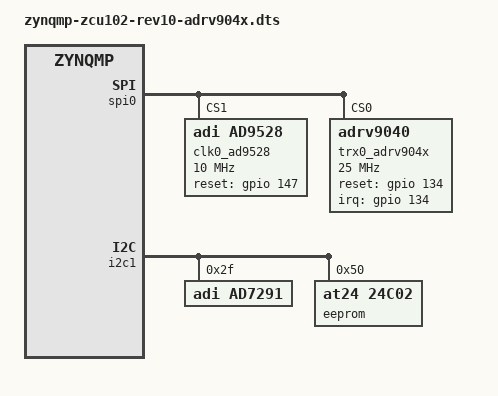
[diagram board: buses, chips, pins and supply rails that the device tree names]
// SPDX-License-Identifier: GPL-2.0
/*
 * Analog Devices ADRV904X
 * https://wiki.analog.com/resources/eval/user-guides/adrv904x
 * https://wiki.analog.com/resources/tools-software/linux-drivers/iio-transceiver/adrv904x
 *
 * hdl_project: <adrv904x/zcu102>
 * board_revision: <>
 *
 * Copyright (C) 2020-2025 Analog Devices Inc.
 */
#include "zynqmp-zcu102-rev1.0.dts"
#include <dt-bindings/interrupt-controller/irq.h>
#include <dt-bindings/iio/adc/adi,adrv904x.h>

#include <dt-bindings/iio/frequency/ad9528.h>
#include <dt-bindings/gpio/gpio.h>
#include <dt-bindings/jesd204/adxcvr.h>

&spi0 {
	status = "okay";

	clk0_ad9528: ad9528-1@1 {
		compatible = "adi,ad9528";
		reg = <1>;

		#address-cells = <1>;
		#size-cells = <0>;

		spi-max-frequency = <10000000>;
		//adi,spi-3wire-enable;

		clock-output-names = "ad9528-1_out0", "ad9528-1_out1", "ad9528-1_out2",
			"ad9528-1_out3", "ad9528-1_out4", "ad9528-1_out5", "ad9528-1_out6",
			"ad9528-1_out7", "ad9528-1_out8", "ad9528-1_out9", "ad9528-1_out10",
			"ad9528-1_out11", "ad9528-1_out12", "ad9528-1_out13";
		#clock-cells = <1>;

		jesd204-device;
		#jesd204-cells = <2>;
		jesd204-sysref-provider;

		adi,vcxo-freq = <122880000>;

		adi,refa-enable;

		adi,refa-diff-rcv-enable;
		adi,refa-r-div = <1>;

		/* PLL1 config */
		adi,pll1-feedback-div = <4>;
		adi,pll1-charge-pump-current-nA = <5000>;

		/* PLL2 config */ /* 983040000 Hz */
		adi,pll2-vco-div-m1 = <4>;
		adi,pll2-n2-div = <4>; /* N / M1 */
		adi,pll2-r1-div = <1>;
		adi,pll2-charge-pump-current-nA = <815000>;
		adi,pll2-freq-doubler-enable;

		/* SYSREF config */
		adi,sysref-src = <SYSREF_SRC_INTERNAL>;
		adi,sysref-pattern-mode = <SYSREF_PATTERN_NSHOT>;
		adi,sysref-k-div = <512>;
		adi,sysref-nshot-mode = <SYSREF_NSHOT_8_PULSES>;
		adi,sysref-request-trigger-mode = <SYSREF_LEVEL_HIGH>;
		adi,jesd204-desired-sysref-frequency-hz = <3840000>;

		adi,rpole2 = <RPOLE2_900_OHM>;
		adi,rzero = <RZERO_1850_OHM>;
		adi,cpole1 = <CPOLE1_16_PF>;

		adi,status-mon-pin0-function-select = <9>; /* PLL1 in holdover */
		adi,status-mon-pin1-function-select = <3>; /* PLL2 locked */

		ad9528_0_c0: channel@0 {
			reg = <0>;
			adi,extended-name = "DEV_SYSREF";
			adi,driver-mode = <DRIVER_MODE_LVDS>;
			adi,divider-phase = <0>;
			adi,channel-divider = <4>;
			adi,signal-source = <SOURCE_SYSREF_VCO>;
			//adi,output-dis;
		};

		ad9528_0_c1: channel@1 {
			reg = <1>;
			adi,extended-name = "DEV_CLK";
			adi,driver-mode = <DRIVER_MODE_LVDS>;
			adi,divider-phase = <0>;
			adi,channel-divider = <4>;
			adi,signal-source = <SOURCE_VCO>;
			//adi,output-dis;
		};

		ad9528_0_c3: channel@3 {
			reg = <3>;
			adi,extended-name = "CORE_CLK";
			adi,driver-mode = <DRIVER_MODE_LVDS>;
			adi,divider-phase = <0>;
			adi,channel-divider = <4>;
			adi,signal-source = <SOURCE_VCO>;
			//adi,output-dis;
		};

		ad9528_0_c11: channel@11 {
			reg = <11>;
			adi,extended-name = "REF_CLK1";
			adi,driver-mode = <DRIVER_MODE_LVDS>;
			adi,divider-phase = <0>;
			adi,channel-divider = <2>;
			adi,signal-source = <SOURCE_SYSREF_VCO>;
			//adi,output-dis;
		};

		ad9528_0_c12: channel@12 {
			reg = <12>;
			adi,extended-name = "FPGA_SYSREF";
			adi,driver-mode = <DRIVER_MODE_LVDS>;
			adi,divider-phase = <0>;
			adi,channel-divider = <4>;
			adi,signal-source = <SOURCE_SYSREF_VCO>;
			//adi,output-dis;
		};

		ad9528_0_c13: channel@13 {
			reg = <13>;
			adi,extended-name = "REF_CLK0";
			adi,driver-mode = <DRIVER_MODE_LVDS>;
			adi,divider-phase = <0>;
			adi,channel-divider = <2>;
			adi,signal-source = <SOURCE_VCO>;
			adi,output-dis;
		};
	};

	trx0_adrv904x: adrv904x-phy@0 {
		compatible = "adrv9040";
		reg = <0>;

		#address-cells = <1>;
		#size-cells = <0>;

		/* SPI Setup */
		spi-max-frequency = <25000000>;

		interrupt-parent = <&gpio>;
		interrupts = <134 IRQ_TYPE_EDGE_RISING>; /* adrv904x_gpint1 - CHECK */

		/* Clocks */
		clocks = <&clk0_ad9528 1>;

		clock-names = "dev_clk";

		clock-output-names = "rx_sampl_clk", "tx_sampl_clk";
		#clock-cells = <1>;

		jesd204-device;
		#jesd204-cells = <2>;
		jesd204-top-device = <0>; /* This is the TOP device */
		jesd204-link-ids = <DEFRAMER0_LINK_TX FRAMER0_LINK_RX>;

		jesd204-inputs =
			<&axi_adrv904x_rx_jesd 0 FRAMER0_LINK_RX>,
			<&axi_adrv904x_core_tx 0 DEFRAMER0_LINK_TX>;

		adi,device-config-name = "DeviceProfileTest.bin";
		adi,arm-firmware-name = "ADRV9040_FW.bin";
		adi,arm-dfe-firmware-name = "ADRV9040_DFE_CALS_FW.bin";
		adi,stream-firmware-name = "stream_image.bin";
		adi,rx-gaintable-names = "ADRV9040_RxGainTable.csv";
		adi,rx-gaintable-channel-masks = <0xFF>;
		//adi,tx-attntable-names = "ADRV904X_TxAttenTable.csv";
		//adi,tx-attntable-channel-masks = <0x0F>;
	};
};

&i2c1 {
	i2c-mux@75 {
		i2c@1 { /* HPC1 */
			#address-cells = <1>;
			#size-cells = <0>;
			reg = <1>;
			/* HPC0_IIC */
			ad7291@2f {
				compatible = "adi,ad7291";
				reg = <0x2f>;
			};

			eeprom@50 {
				compatible = "at24,24c02";
				reg = <0x50>;
			};
		};
	};
};


/ {
	fpga_axi: fpga-axi@0 {
		interrupt-parent = <&gic>;
		compatible = "simple-bus";
		#address-cells = <0x1>;
		#size-cells = <0x1>;
		ranges = <0 0 0 0xffffffff>;

		rx_dma: dma@9c400000 {
			compatible = "adi,axi-dmac-1.00.a";
			reg = <0x9c400000 0x1000>;
			#dma-cells = <1>;
			#clock-cells = <0>;
			dma-coherent;
			interrupts = <0 110 IRQ_TYPE_LEVEL_HIGH>;
			clocks = <&zynqmp_clk 73>;
		};

		tx_dma: dma@9c420000  {
			compatible = "adi,axi-dmac-1.00.a";
			reg = <0x9c420000 0x1000>;
			#dma-cells = <1>;
			#clock-cells = <0>;
			dma-coherent;
			interrupts = <0 109 IRQ_TYPE_LEVEL_HIGH>;
			clocks = <&zynqmp_clk 73>;
		};

		axi_rx_clkgen: axi-clkgen@83c10000 {
			compatible = "adi,axi-clkgen-2.00.a";
			reg = <0x83c10000 0x10000>;
			#clock-cells = <0>;
			clocks = <&clk0_ad9528 3>, <&zynqmp_clk 71>;
			clock-names = "clkin1", "s_axi_aclk";
			clock-output-names = "axi_rx_clkgen";
		};

		axi_tx_clkgen: axi-clkgen@83c00000 {
			compatible = "adi,axi-clkgen-2.00.a";
			reg = <0x83c00000 0x10000>;
			#clock-cells = <0>;
			clocks = <&clk0_ad9528 3>, <&zynqmp_clk 71>;
			clock-names = "clkin1", "s_axi_aclk";
			clock-output-names = "axi_tx_clkgen";
		};

		axi_adrv904x_core_rx: axi-adrv904x-rx-hpc@84a00000 {
			compatible = "adi,axi-adc-legacy-10.0.a";
			reg = <0x84a00000 0x6000>;
			dmas = <&rx_dma 0>;
			dma-names = "rx";
			spibus-connected = <&trx0_adrv904x>;
		};

		axi_adrv904x_core_tx: axi-adrv904x-tx-hpc@84a04000 {
			compatible = "adi,axi-adrv904x-tx-1.0";
			reg = <0x84a04000 0x2000>;
			dmas = <&tx_dma 0>;
			dma-names = "tx";
			clocks = <&trx0_adrv904x 1>;
			clock-names = "sampl_clk";
			adi,axi-pl-fifo-enable;
			adi,axi-data-offload-connected = <&axi_data_offload_tx>;

			jesd204-device;
			#jesd204-cells = <2>;
			jesd204-inputs = <&axi_adrv904x_tx_jesd 0 DEFRAMER0_LINK_TX>;
		};

		axi_adrv904x_rx_jesd: axi-jesd204-rx@84aa0000 {
			compatible = "adi,axi-jesd204-rx-1.0";
			reg = <0x84aa0000 0x4000>;

			interrupts = <0 107 IRQ_TYPE_LEVEL_HIGH>;

			clocks = <&zynqmp_clk 71>, <&axi_rx_clkgen>, <&axi_adrv904x_adxcvr_rx 0>;
			clock-names = "s_axi_aclk", "device_clk", "lane_clk";

			#clock-cells = <0>;
			clock-output-names = "jesd_rx_lane_clk";

			adi,octets-per-frame = <4>;
			adi,frames-per-multiframe = <32>;

			jesd204-device;
			#jesd204-cells = <2>;
			jesd204-inputs = <&axi_adrv904x_adxcvr_rx 0 FRAMER0_LINK_RX>;
		};

		axi_adrv904x_tx_jesd: axi-jesd204-tx@84a90000 {
			compatible = "adi,axi-jesd204-tx-1.0";
			reg = <0x84a90000 0x4000>;

			interrupts = <0 106 IRQ_TYPE_LEVEL_HIGH>;

			clocks = <&zynqmp_clk 71>, <&axi_tx_clkgen>, <&axi_adrv904x_adxcvr_tx 0>;
			clock-names = "s_axi_aclk", "device_clk", "lane_clk";

			#clock-cells = <0>;
			clock-output-names = "jesd_tx_lane_clk";

			jesd204-device;
			#jesd204-cells = <2>;
			jesd204-inputs = <&axi_adrv904x_adxcvr_tx 0 DEFRAMER0_LINK_TX>;

		};

		axi_adrv904x_adxcvr_rx: axi-adxcvr-rx@84a60000 {
			#address-cells = <1>;
			#size-cells = <0>;
			compatible = "adi,axi-adxcvr-1.0";
			reg = <0x84a60000 0x10000>;

			clocks = <&clk0_ad9528 13>;
			clock-names = "conv";

			#clock-cells = <1>;
			clock-output-names = "rx_gt_clk", "rx_out_clk";

			adi,sys-clk-select = <XCVR_QPLL>;
			adi,out-clk-select = <XCVR_REFCLK>;

			jesd204-device;
			#jesd204-cells = <2>;
			jesd204-inputs =  <&clk0_ad9528 0 FRAMER0_LINK_RX>;

		};

		axi_adrv904x_adxcvr_tx: axi-adxcvr-tx@84a80000 {
			#address-cells = <1>;
			#size-cells = <0>;
			compatible = "adi,axi-adxcvr-1.0";
			reg = <0x84a80000 0x1000>;

			clocks = <&clk0_ad9528 13>;
			clock-names = "conv";

			#clock-cells = <1>;
			clock-output-names = "tx_gt_clk", "tx_out_clk";

			adi,sys-clk-select = <XCVR_QPLL>;
			adi,out-clk-select = <XCVR_REFCLK>;

			jesd204-device;
			#jesd204-cells = <2>;
			jesd204-inputs =  <&clk0_ad9528 0 DEFRAMER0_LINK_TX>;

		};

		axi_sysid_0: axi-sysid-0@85000000 {
			compatible = "adi,axi-sysid-1.00.a";
			reg = <0x85000000 0x10000>;
		};

		axi_data_offload_tx: axi-data-offload-0@9c440000 {
			compatible = "adi,axi-data-offload-1.0.a";
			reg = <0x9c440000 0x10000>;
			// adi,bringup;
			// adi,oneshot;
			// adi,bypass;
			// adi,sync-config = <2>;
			//adi,transfer-length = /bits/ 64 <0x10000>; // 2**16 bytes
		};

		axi_data_offload_rx: axi-data-offload-1@9c450000 {
			compatible = "adi,axi-data-offload-1.0.a";
			reg = <0x9c450000 0x10000>;
		};
	};
};

&trx0_adrv904x {
	reset-gpios = <&gpio 134 0>;
};

&clk0_ad9528 {
	reset-gpios = <&gpio 147 0>;
};
